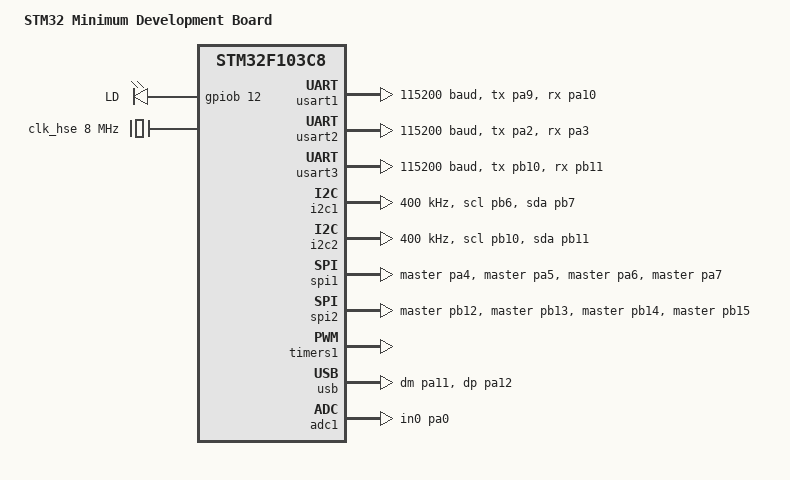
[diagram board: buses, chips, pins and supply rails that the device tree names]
/*
 * Copyright (c) 2019, embedjournal.com
 *
 * SPDX-License-Identifier: Apache-2.0
 */

/dts-v1/;
#include <st/f1/stm32f103X8.dtsi>
#include <st/f1/stm32f103r(8-b)tx-pinctrl.dtsi>

/ {
	model = "STM32 Minimum Development Board";
	compatible = "st,stm32f103c8";

	chosen {
		zephyr,console = &usart1;
		zephyr,shell-uart = &usart1;
		zephyr,osdp-uart = &usart2;
		zephyr,sram = &sram0;
		zephyr,flash = &flash0;
	};

	leds {
		compatible = "gpio-leds";

		led: led {
			gpios = <&gpiob 12 GPIO_ACTIVE_HIGH>;
			label = "LD";
		};
	};

	aliases {
		led0 = &led;
	};
};

&clk_hse {
	clock-frequency = <DT_FREQ_M(8)>;
	status = "okay";
};

&pll {
	mul = <9>;
	clocks = <&clk_hse>;
	status = "okay";
};

&rcc {
	clocks = <&pll>;
	clock-frequency = <DT_FREQ_M(72)>;
	ahb-prescaler = <1>;
	apb1-prescaler = <2>;
	apb2-prescaler = <1>;
	/* usbpre not set: USB clock = 72 / 1.5: 48MHz */
};

&usart1 {
	pinctrl-0 = <&usart1_tx_pa9 &usart1_rx_pa10>;
	current-speed = <115200>;
	pinctrl-names = "default";
	status = "okay";
};

&usart2 {
	pinctrl-0 = <&usart2_tx_pa2 &usart2_rx_pa3>;
	current-speed = <115200>;
	pinctrl-names = "default";
	status = "okay";
};

&usart3 {
	pinctrl-0 = <&usart3_tx_pb10 &usart3_rx_pb11>;
	current-speed = <115200>;
	pinctrl-names = "default";
	status = "okay";
};

&i2c1 {
	pinctrl-0 = <&i2c1_scl_pb6 &i2c1_sda_pb7>;
	status = "okay";
	pinctrl-names = "default";
	clock-frequency = <I2C_BITRATE_FAST>;
};

&i2c2 {
	pinctrl-0 = <&i2c2_scl_pb10 &i2c2_sda_pb11>;
	pinctrl-names = "default";
	status = "okay";
	clock-frequency = <I2C_BITRATE_FAST>;
};

&spi1 {
	pinctrl-0 = <&spi1_nss_master_pa4 &spi1_sck_master_pa5
		     &spi1_miso_master_pa6 &spi1_mosi_master_pa7>;
	pinctrl-names = "default";
	status = "okay";
};

&spi2 {
	pinctrl-0 = <&spi2_nss_master_pb12 &spi2_sck_master_pb13
		     &spi2_miso_master_pb14 &spi2_mosi_master_pb15>;
	pinctrl-names = "default";
	status = "okay";
};

&timers1 {
	status = "okay";

	pwm1: pwm {
		status = "okay";
		pinctrl-0 = <&tim1_ch1_pwm_out_pa8>;
		pinctrl-names = "default";
	};
};

zephyr_udc0: &usb {
	pinctrl-0 = <&usb_dm_pa11 &usb_dp_pa12>;
	pinctrl-names = "default";
	status = "okay";
};

&adc1 {
	pinctrl-0 = <&adc1_in0_pa0>;
	pinctrl-names = "default";
	status = "okay";
};
